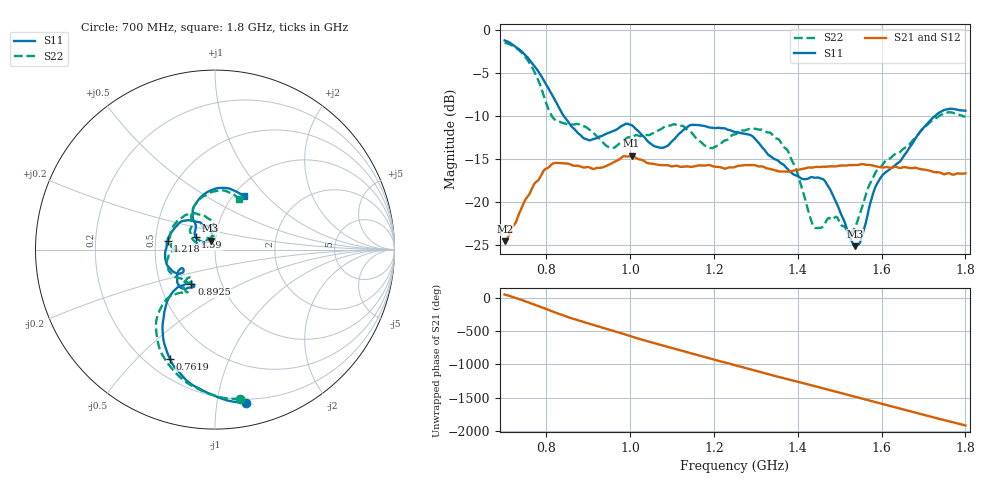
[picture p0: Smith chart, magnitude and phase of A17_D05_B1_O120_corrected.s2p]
! Created with skrf 1.9.0 (http://scikit-rf.org).
# Hz S RI R 50.0
!freq ReS11 ImS11 ReS21 ImS21 ReS12 ImS12 ReS22 ImS22
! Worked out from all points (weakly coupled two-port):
!   1601 points, 700 MHz to 1.8 GHz, reference 50 ohm
!   highest |S21| = -14.59 dB at 1.003 GHz (marker M1); lowest = -24.5 dB at 700.7 MHz (marker M2)
!   lowest |S11| = -25.1 dB at 1.537 GHz (marker M3), VSWR 1.12, Z = 47.3 + j4.73 ohm
!   |S11| at or under -10 dB: 841.4 MHz to 1.727 GHz (885.3 MHz wide, 68.9 % of centre)
!   |S22| runs from -23.7 to -1.5 dB; largest |S21 - S12| = 0.0034
!   S11 on the Smith chart (normalised r, x): 700 MHz: 0.17, -1.21; 761.9 MHz: 0.29, -0.63; 892.5 MHz: 0.72, -0.29; 1.218 GHz: 0.58, +0.06; 1.59 GHz: 0.80, +0.11; 1.8 GHz: 1.12, +0.76
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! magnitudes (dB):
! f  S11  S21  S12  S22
! 700 MHz  -1.2  -24.5  -24.3  -1.5
! 700.7 MHz  -1.2  -24.5  -24.2  -1.5
! 761.9 MHz  -3.6  -18.8  -18.7  -4.0
! 816.2 MHz  -7.8  -15.5  -15.6  -10.2
! 883.6 MHz  -12.3  -15.9  -15.8  -11.1
! 892.5 MHz  -12.7  -16.0  -16.0  -11.2
! 953 MHz  -11.9  -15.5  -15.6  -13.7
! 1.003 GHz  -11.0  -14.6  -14.7  -12.5
! 1.067 GHz  -13.6  -15.7  -15.6  -11.7
! 1.144 GHz  -11.0  -15.9  -15.9  -11.8
! 1.218 GHz  -11.4  -16.0  -16.0  -13.1
! 1.25 GHz  -11.8  -15.9  -15.8  -12.1
! 1.356 GHz  -15.3  -16.4  -16.3  -12.8
! 1.395 GHz  -16.9  -16.3  -16.3  -16.0
! 1.434 GHz  -17.1  -16.0  -15.9  -22.4
! 1.469 GHz  -17.9  -15.9  -15.9  -22.1
! 1.537 GHz  -25.1  -15.7  -15.7  -22.9
! 1.551 GHz  -24.3  -15.6  -15.6  -20.9
! 1.59 GHz  -17.8  -15.9  -15.9  -16.2
! 1.617 GHz  -16.3  -16.0  -15.9  -15.0
! 1.732 GHz  -9.8  -16.5  -16.5  -10.2
! 1.8 GHz  -9.4  -16.6  -16.6  -10.1
